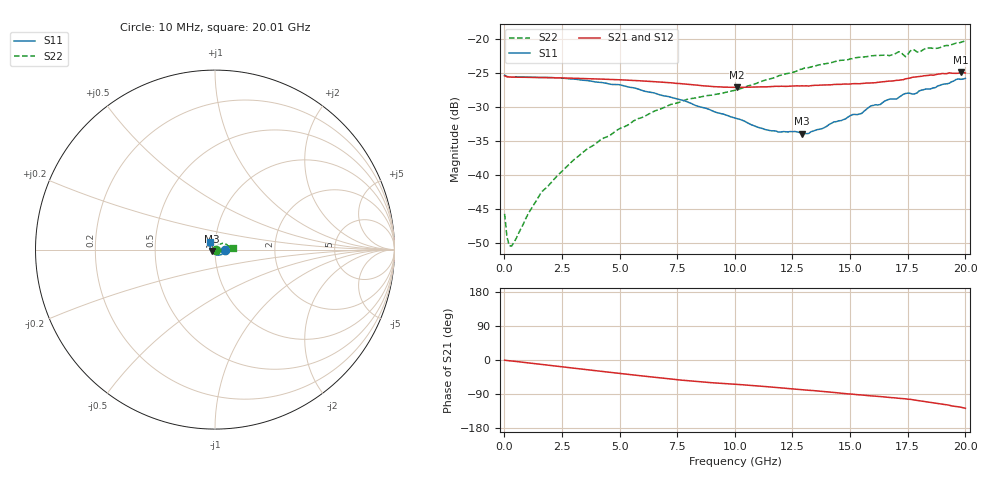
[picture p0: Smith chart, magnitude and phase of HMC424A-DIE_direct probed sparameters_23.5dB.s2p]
!s2p File: Measurements: S11, S21, S12, S22
# GHz S dB R 50.0
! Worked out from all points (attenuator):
!   201 points, 10 MHz to 20.01 GHz, reference 50 ohm
!   highest |S21| = -24.86 dB at 19.81 GHz (marker M1); lowest = -27.1 dB at 10.11 GHz (marker M2)
!   lowest |S11| = -33.9 dB at 12.91 GHz (marker M3), VSWR 1.04, Z = 48.2 - j0.898 ohm
!   |S11| at or under -10 dB: start of sweep to end of sweep
!   |S22| runs from -50.4 to -20.2 dB; largest |S21 - S12| = 0.00052
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0.01  -25.28 -0.2  -25.37 -0.3  -25.37 -0.3  -45.69 -15.6
0.11  -25.47 -1.5  -25.51 -1.4  -25.50 -1.4  -49.03 -98.7
0.21  -25.53 -1.9  -25.55 -1.9  -25.55 -1.9  -50.35 -142.2
0.31  -25.54 -2.3  -25.56 -2.6  -25.56 -2.6  -50.44 -167.0
1.61  -25.61 -10.4  -25.63 -11.7  -25.62 -11.7  -42.48 108.7
3.41  -26.02 -23.5  -25.76 -24.3  -25.76 -24.3  -36.62 87.5
5.01  -26.69 -36.5  -25.96 -35.4  -25.96 -35.4  -33.13 76.2
6.71  -28.13 -50.9  -26.28 -46.9  -26.28 -46.9  -30.33 64.6
7.91  -29.17 -61.6  -26.61 -54.4  -26.61 -54.4  -28.86 55.8
10.01  -31.59 -89.9  -27.07 -64.0  -27.07 -64.0  -27.50 46.2
10.11  -31.68 -91.1  -27.08 -64.4  -27.07 -64.4  -27.41 46.2
11.41  -33.35 -117.4  -26.99 -70.5  -26.98 -70.4  -25.94 42.0
12.91  -33.89 -152.6  -26.84 -78.3  -26.83 -78.3  -24.39 34.5
13.41  -33.50 -164.7  -26.79 -80.7  -26.81 -80.6  -23.96 31.6
16.71  -28.82 140.5  -26.15 -98.7  -26.12 -98.7  -22.41 13.4
17.11  -28.58 139.0  -26.03 -101.0  -25.94 -101.0  -21.83 12.2
17.41  -27.98 135.7  -25.82 -102.4  -25.84 -102.9  -22.56 11.3
17.71  -28.05 132.0  -25.59 -104.8  -25.64 -105.0  -21.50 10.8
18.01  -27.58 130.8  -25.47 -107.5  -25.51 -107.3  -21.92 10.2
18.31  -27.30 126.9  -25.34 -110.2  -25.37 -110.0  -21.28 10.3
19.81  -25.89 124.0  -24.86 -124.6  -24.86 -124.5  -20.45 6.1
20.01  -25.75 125.3  -24.95 -127.4  -24.93 -127.3  -20.17 5.6
